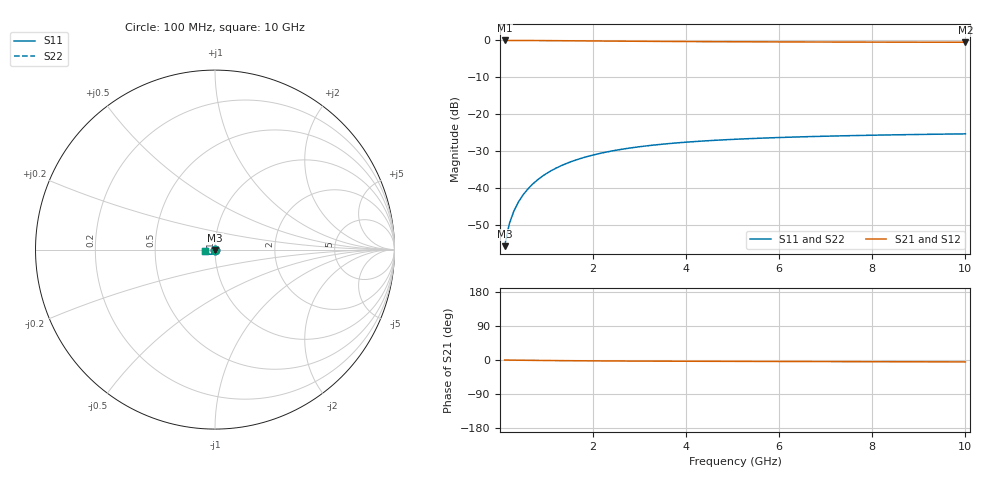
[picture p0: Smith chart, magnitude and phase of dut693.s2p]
! Touchstone file exported from HFSS 2024.1.0
!  File:  C:/UserFiles/LocalFiles/RDL_TSV_Batchsim/temp_TSV1_693_1779796438.aedt
!  Generated:  07:57:41 PM May 26, 2026
!  Design:  TSV1
!  Project:  temp_TSV1_693_1779796438
!  Setup:  Setup1
!  Solution:  Sweep
! Variables:
!  dtsv = 13.97um
!  hbump = 3um
!  htsv = 76.5um
!  lrdl = 252.1521522um
!  p = 40
!  p1 = 54.06um
!  t = 500um
!  trdl = 3um
!  wrdl = 24.89489489um
# GHz S MA R 50.000000
! Terminal data exported
! Port[1] = TSV22_T1
! Port[2] = TSV22_T2
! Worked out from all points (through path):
!   100 points, 100 MHz to 10 GHz, reference 50 ohm
!   highest |S21| = 0.00 dB at 100 MHz (marker M1); lowest = -0.5 dB at 10 GHz (marker M2)
!   lowest |S11| = -55.6 dB at 100 MHz (marker M3), VSWR 1.00, Z = 50 - j0.166 ohm
!   |S11| at or under -10 dB: start of sweep to end of sweep
!   |S22| runs from -55.6 to -25.3 dB; largest |S21 - S12| = 4.4e-15
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0.1  0.001656 -89.1  0.9999 -0.1  0.9999 -0.1  0.001656 -89.1
! Gamma 0 0 0 0
! Port Impedance 50 0 50 0
0.2  0.003309 -92.1  0.9997 -0.3  0.9997 -0.3  0.003309 -92.1
0.3  0.00496 -94.4  0.9994 -0.4  0.9994 -0.4  0.00496 -94.4
0.4  0.0066 -96.4  0.999 -0.6  0.999 -0.6  0.0066 -96.4
0.5  0.008223 -98.4  0.9985 -0.7  0.9985 -0.7  0.008223 -98.4
0.6  0.009823 -100.3  0.998 -0.8  0.998 -0.8  0.009823 -100.3
0.7  0.0114 -102.2  0.9973 -1.0  0.9973 -1.0  0.0114 -102.2
0.8  0.01294 -104.0  0.9966 -1.1  0.9966 -1.1  0.01294 -104.0
0.9  0.01444 -105.8  0.9958 -1.2  0.9958 -1.2  0.01444 -105.8
1.1  0.01734 -109.3  0.994 -1.4  0.994 -1.4  0.01734 -109.3
1.4  0.02137 -114.2  0.9911 -1.7  0.9911 -1.7  0.02137 -114.2
1.6  0.02383 -117.2  0.989 -1.9  0.989 -1.9  0.02383 -117.2
1.8  0.02612 -120.1  0.9868 -2.1  0.9868 -2.1  0.02612 -120.1
2.1  0.02924 -124.2  0.9836 -2.3  0.9836 -2.3  0.02924 -124.2
2.5  0.03285 -129.0  0.9794 -2.6  0.9794 -2.6  0.03285 -129.0
2.9  0.0359 -133.4  0.9754 -2.8  0.9754 -2.8  0.0359 -133.4
3.4  0.03907 -138.1  0.971 -3.0  0.971 -3.0  0.03907 -138.1
4.2  0.04302 -144.5  0.9651 -3.3  0.9651 -3.3  0.04302 -144.5
5.1  0.04628 -150.3  0.9599 -3.6  0.9599 -3.6  0.04628 -150.3
6.7  0.05021 -158.3  0.9533 -4.1  0.9533 -4.1  0.05021 -158.3
8.4  0.05288 -164.8  0.9486 -4.6  0.9486 -4.6  0.05288 -164.8
10  0.0546 -169.7  0.9456 -5.0  0.9456 -5.0  0.0546 -169.7
